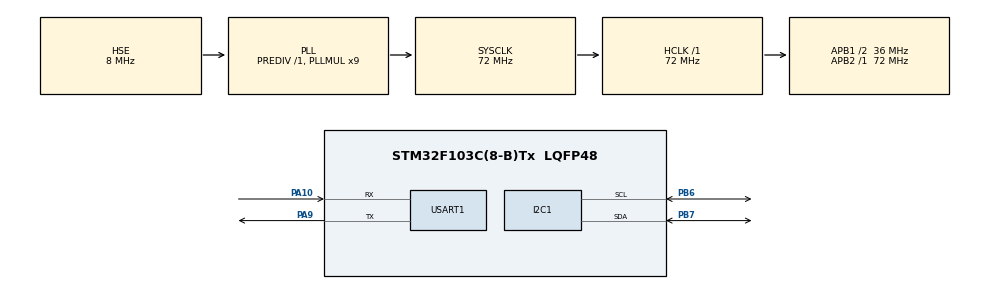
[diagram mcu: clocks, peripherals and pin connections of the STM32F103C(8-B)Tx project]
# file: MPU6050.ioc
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Mcu.Family=STM32F1
Mcu.Name=STM32F103C(8-B)Tx
Mcu.Package=LQFP48
NVIC.PriorityGroup=NVIC_PRIORITYGROUP_4
PA10.Mode=Asynchronous
PA10.Signal=USART1_RX
PA13.Mode=Serial_Wire
PA13.Signal=SYS_JTMS-SWDIO
PA14.Mode=Serial_Wire
PA14.Signal=SYS_JTCK-SWCLK
PA9.Mode=Asynchronous
PA9.Signal=USART1_TX
PB6.Mode=I2C
PB6.Signal=I2C1_SCL
PB7.Mode=I2C
PB7.Signal=I2C1_SDA
PD0-OSC_IN.Mode=HSE-External-Oscillator
PD0-OSC_IN.Signal=RCC_OSC_IN
PD1-OSC_OUT.Mode=HSE-External-Oscillator
PD1-OSC_OUT.Signal=RCC_OSC_OUT
ProjectManager.HeapSize=0x200
ProjectManager.StackSize=0x400
ProjectManager.TargetToolchain=STM32CubeIDE
RCC.AHBFreq_Value=72000000
RCC.APB1CLKDivider=RCC_HCLK_DIV2
RCC.APB1Freq_Value=36000000
RCC.APB1TimFreq_Value=72000000
RCC.APB2Freq_Value=72000000
RCC.APB2TimFreq_Value=72000000
RCC.HCLKFreq_Value=72000000
RCC.PLLMUL=RCC_PLL_MUL9
RCC.PLLSourceVirtual=RCC_PLLSOURCE_HSE
RCC.SYSCLKFreq_VALUE=72000000
RCC.SYSCLKSource=RCC_SYSCLKSOURCE_PLLCLK
RCC.USBFreq_Value=72000000
USART1.VirtualMode=VM_ASYNC
board=custom

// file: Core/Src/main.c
/* USER CODE BEGIN Header */
/**
  ******************************************************************************
  * @file           : main.c
  * @brief          : Main program body
  ******************************************************************************
  * @attention
  *
  * Copyright (c) 2026 STMicroelectronics.
  * All rights reserved.
  *
  * This software is licensed under terms that can be found in the LICENSE file
  * in the root directory of this software component.
  * If no LICENSE file comes with this software, it is provided AS-IS.
  *
  ******************************************************************************
  */
/* USER CODE END Header */
#include "main.h"
#include "i2c.h"
#include "gpio.h"
#include "usart.h"
/* USER CODE BEGIN Includes */
#include "MPU6050.h"
#include <stdio.h>
/* USER CODE END Includes */

/* USER CODE BEGIN PD */
// 全局变量
MPU6050_Data raw_data;
float accel[3], gyro[3];  // 存储转换后的物理值
/* USER CODE END PD */

void SystemClock_Config(void);

/* USER CODE BEGIN 0 */
void SendFormattedData(UART_HandleTypeDef *huart, float *accel, float *gyro) {
    char buffer[128];
    int len = snprintf(buffer, sizeof(buffer), "%.2f,%.2f,%.2f,%.2f,%.2f,%.2f\r\n",
                       accel[0], accel[1], accel[2],   // 加速度X,Y,Z
                       gyro[0], gyro[1], gyro[2]);     // 角速度X,Y,Z
    HAL_UART_Transmit(huart, (uint8_t*)buffer, len, 100);
}
/* USER CODE END 0 */

int main(void)
{

  /* MCU Configuration--------------------------------------------------------*/

  /* Reset of all peripherals, Initializes the Flash interface and the Systick. */
  HAL_Init();

  /* Configure the system clock */
  SystemClock_Config();

  /* Initialize all configured peripherals */
  MX_GPIO_Init();
  MX_I2C1_Init();
  MX_USART1_UART_Init();
  /* USER CODE BEGIN 2 */
  // 初始化MPU6050
  if (MPU6050_Init(&hi2c1) != HAL_OK) {
	  Error_Handler();  // 初始化失败处理
  }
  /* USER CODE END 2 */

  /* Infinite loop */
  /* USER CODE BEGIN WHILE */
  while (1)
  {
	  MPU6050_ReadRawData(&hi2c1, &raw_data);  // 读取原始数据
	  MPU6050_ConvertToPhysical(&raw_data, accel, gyro);  // 单位转换
	  SendFormattedData(&huart1, accel, gyro);  // 格式化输出
	  HAL_Delay(100);  // 100ms读取一次
    /* USER CODE END WHILE */

  }
}

void SystemClock_Config(void)
{
  RCC_OscInitTypeDef RCC_OscInitStruct = {0};
  RCC_ClkInitTypeDef RCC_ClkInitStruct = {0};

  /** Initializes the RCC Oscillators according to the specified parameters
  * in the RCC_OscInitTypeDef structure.
  */
  RCC_OscInitStruct.OscillatorType = RCC_OSCILLATORTYPE_HSE;
  RCC_OscInitStruct.HSEState = RCC_HSE_ON;
  RCC_OscInitStruct.HSEPredivValue = RCC_HSE_PREDIV_DIV1;
  RCC_OscInitStruct.HSIState = RCC_HSI_ON;
  RCC_OscInitStruct.PLL.PLLState = RCC_PLL_ON;
  RCC_OscInitStruct.PLL.PLLSource = RCC_PLLSOURCE_HSE;
  RCC_OscInitStruct.PLL.PLLMUL = RCC_PLL_MUL9;
  if (HAL_RCC_OscConfig(&RCC_OscInitStruct) != HAL_OK)
  {
    Error_Handler();
  }

  /** Initializes the CPU, AHB and APB buses clocks
  */
  RCC_ClkInitStruct.ClockType = RCC_CLOCKTYPE_HCLK|RCC_CLOCKTYPE_SYSCLK
                              |RCC_CLOCKTYPE_PCLK1|RCC_CLOCKTYPE_PCLK2;
  RCC_ClkInitStruct.SYSCLKSource = RCC_SYSCLKSOURCE_PLLCLK;
  RCC_ClkInitStruct.AHBCLKDivider = RCC_SYSCLK_DIV1;
  RCC_ClkInitStruct.APB1CLKDivider = RCC_HCLK_DIV2;
  RCC_ClkInitStruct.APB2CLKDivider = RCC_HCLK_DIV1;

  if (HAL_RCC_ClockConfig(&RCC_ClkInitStruct, FLASH_LATENCY_2) != HAL_OK)
  {
    Error_Handler();
  }
}

void Error_Handler(void)
{
  __disable_irq();
  while (1)
  {
  }
}
